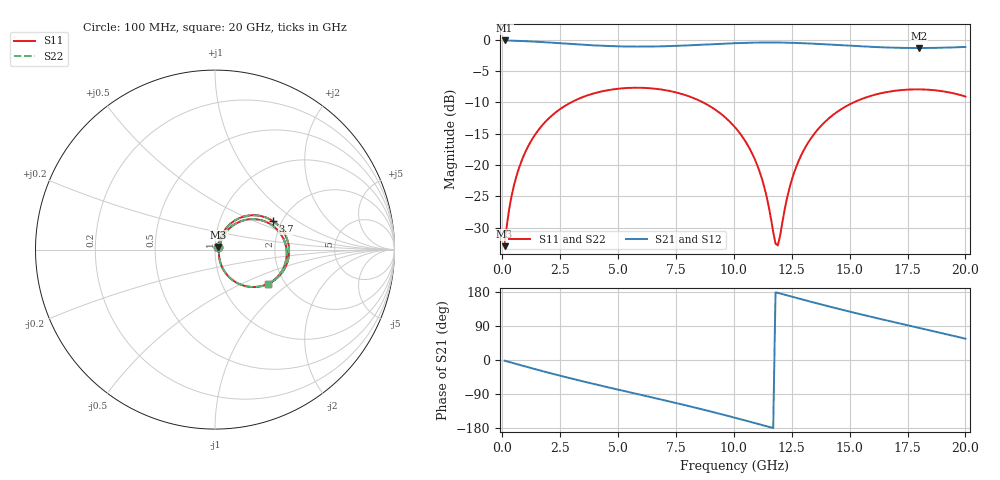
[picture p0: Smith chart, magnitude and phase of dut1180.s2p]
! Touchstone file exported from HFSS 2026.1.0
!  File:  C:/ffzhzh/LocalFiles/Ansys_Project_Files/temp_train_TSV_RDL_1180_1783315514_30076.aedt
!  Generated:  01:40:36 PM Jul  6, 2026
!  Design:  TSV_RDL
!  Project:  temp_train_TSV_RDL_1180_1783315514_30076
! Variables:
!  h_bsmrdl = 4.76um
!  h_ox = 20um
!  h_rdl = 5um
!  h_sub = 52.9um
!  h_tmrdl = 5.21um
!  h_tsv = 52.9um
!  h_via = 3um
!  l_bsmrdl = 863.33um
!  l_sub = 5544.58um
!  l_tmrdl = 600.45um
!  m_sub = 200um
!  pitch = 42.62um
!  r_tsv = 4.92um
!  s_tmrdl = 10um
!  w_bsmrdl = 23.79um
!  w_sub = 500um
!  w_tmrdl = 27.14um
!  x_tsv_center1 = 614.02um
!  x_tsv_center2 = 1501.14um
!  x_tsv_center3 = 2128.73um
!  x_tsv_center4 = 3015.85um
!  x_tsv_center5 = 3643.44um
!  x_tsv_center6 = 4530.56um
# GHz S MA R 50.000000
! Terminal data exported
! Port[1] = TM_RDL1_1_T1
! Port[2] = TM_RDL5_1_T1
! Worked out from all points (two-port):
!   200 points, 100 MHz to 20 GHz, reference 50 ohm
!   highest |S21| = -0.15 dB at 100 MHz (marker M1); lowest = -1.4 dB at 18 GHz (marker M2)
!   |S21| within 3 dB of the highest: start of sweep to end of sweep
!   lowest |S11| = -32.9 dB at 100 MHz (marker M3), VSWR 1.05, Z = 51.8 + j1.46 ohm
!   |S11| at or under -10 dB: start of sweep to 2.979 GHz; 8.66 GHz to 15.18 GHz (6.524 GHz wide, 54.7 % of centre)
!   |S22| runs from -32.9 to -7.7 dB; largest |S21 - S12| = 2.5e-14
!   S11 on the Smith chart (normalised r, x): 100 MHz: 1.04, +0.03; 3.7 GHz: 1.80, +0.66; 20 GHz: 1.64, -0.72
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0.1  0.02261 38.5  0.9827 -1.8  0.9827 -1.8  0.02261 38.5
! Gamma 0 0 0 0
! Port Impedance 50 0 50 0
0.3  0.04498 58.9  0.9797 -5.3  0.9797 -5.3  0.04498 58.9
0.5  0.06838 63.8  0.9773 -8.7  0.9773 -8.7  0.06838 63.8
1.1  0.1391 61.9  0.9681 -18.8  0.9681 -18.8  0.1391 61.9
2.1  0.2442 48.9  0.9444 -35.2  0.9444 -35.2  0.2442 48.9
3.5  0.3493 28.9  0.9079 -56.6  0.9079 -56.6  0.3493 29.0
3.7  0.3601 26.1  0.9034 -59.6  0.9034 -59.6  0.3601 26.2
5.3  0.4101 4.4  0.8802 -82.4  0.8802 -82.4  0.4101 4.4
6.8  0.4014 -15.6  0.8818 -103.4  0.8818 -103.4  0.4014 -15.6
8.5  0.3269 -38.7  0.9063 -128.2  0.9063 -128.2  0.3269 -38.7
10.1  0.1951 -60.2  0.9351 -153.2  0.9351 -153.2  0.1951 -60.1
11.1  0.09006 -68.1  0.9455 -169.6  0.9455 -169.6  0.09011 -67.9
11.4  0.05775 -64.5  0.9466 -174.6  0.9466 -174.6  0.05785 -64.1
11.8  0.02367 -21.6  0.9462 178.8  0.9462 178.8  0.024 -21.3
11.9  0.02294 5.3  0.9459 177.1  0.9459 177.1  0.02331 5.2
12.5  0.07601 57.7  0.9411 167.2  0.9411 167.2  0.07616 57.4
12.9  0.1187 57.6  0.9357 160.6  0.9357 160.6  0.1188 57.5
13.4  0.1701 53.2  0.927 152.5  0.927 152.5  0.1702 53.0
14.8  0.2906 35.3  0.8967 130.7  0.8967 130.7  0.2907 35.2
16.7  0.3843 10.0  0.8629 103.0  0.8629 103.0  0.3843 10.0
18  0.4008 -7.0  0.8555 84.7  0.8555 84.7  0.4009 -7.0
20  0.3516 -33.1  0.8724 56.2  0.8724 56.2  0.3517 -33.1
